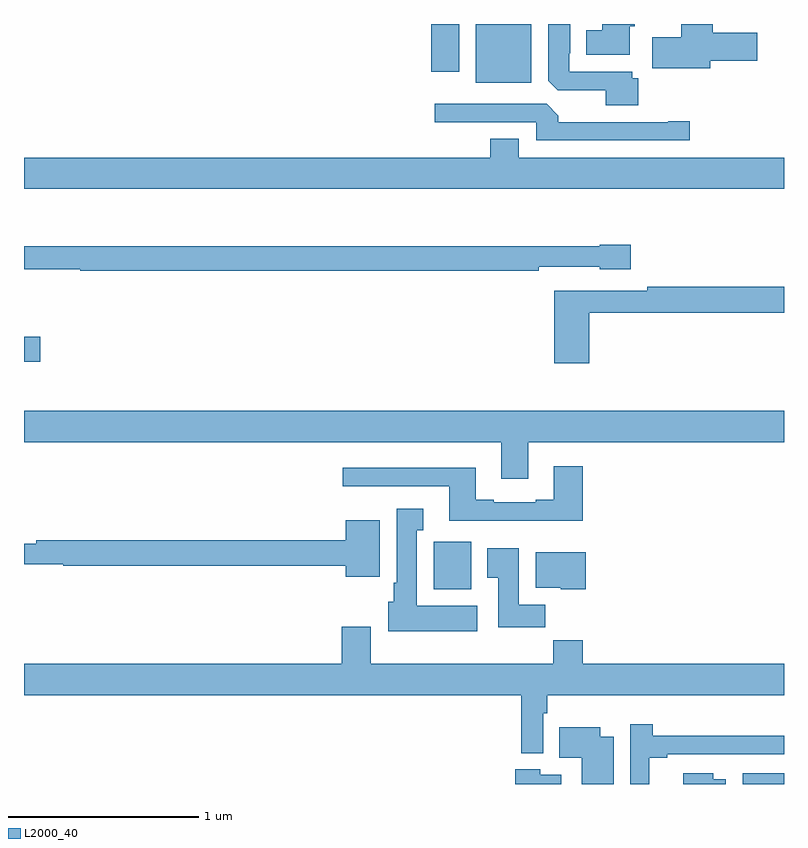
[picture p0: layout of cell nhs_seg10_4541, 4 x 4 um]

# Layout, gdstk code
import gdstk
lib = gdstk.Library(unit=1e-6, precision=1e-09)
def R(c, l, rs):  # rectangles x0, y0, x1, y1
    for r in rs: c.add(gdstk.rectangle(r[:2], r[2:], *l))
def P(c, l, *ps):  # polygons
    for p in ps: c.add(gdstk.Polygon(p, *l))
L2000_40 = (2000, 40)

nhs_seg10_4541 = lib.new_cell('nhs_seg10_4541')
R(nhs_seg10_4541, L2000_40, [(372.782,1314.5,373,1314.556), (371.157,1315.526,371.353,1315.776), (369,1316.723,369.085,1316.853), (371.378,1318.19,371.671,1318.5), (371.144,1318.248,371.29,1318.5)])
P(nhs_seg10_4541, L2000_40, [(372.233,1318.215),(372.202,1318.215),(372.202,1318.248),(371.871,1318.248),(371.871,1318.345),(371.875,1318.345),(371.875,1318.5),(371.759,1318.5),(371.759,1318.201),(371.808,1318.152),(372.062,1318.152),(372.062,1318.073),(372.233,1318.073)],
  [(372.187,1318.488),(372.214,1318.488),(372.214,1318.5),(372.044,1318.5),(372.044,1318.468),(371.96,1318.468),(371.96,1318.337),(372.187,1318.337)],
  [(372.613,1318.307),(372.859,1318.307),(372.859,1318.454),(372.626,1318.454),(372.626,1318.5),(372.458,1318.5),(372.458,1318.431),(372.306,1318.431),(372.306,1318.268),(372.613,1318.268)],
  [(372.505,1317.989),(372.392,1317.989),(372.392,1317.984),(371.813,1317.984),(371.813,1318.018),(371.751,1318.08),(371.163,1318.08),(371.163,1317.984),(371.697,1317.984),(371.697,1317.888),(372.505,1317.888)],
  [(373,1317.796),(371.605,1317.796),(371.605,1317.895),(371.453,1317.895),(371.453,1317.796),(369,1317.796),(369,1317.632),(373,1317.632)],
  [(371.708,1317.222),(372.03,1317.222),(372.03,1317.209),(372.193,1317.209),(372.193,1317.339),(372.03,1317.339),(372.03,1317.331),(369,1317.331),(369,1317.21),(369.296,1317.21),(369.296,1317.202),(371.708,1317.202)],
  [(371.975,1316.98),(373,1316.98),(373,1317.116),(372.28,1317.116),(372.28,1317.096),(371.792,1317.096),(371.792,1316.715),(371.975,1316.715)],
  [(371.653,1316.3),(373,1316.3),(373,1316.464),(369,1316.464),(369,1316.3),(371.513,1316.3),(371.513,1316.106),(371.653,1316.106)],
  [(371.942,1316.173),(371.789,1316.173),(371.789,1315.996),(371.693,1315.996),(371.693,1315.983),(371.473,1315.983),(371.473,1315.996),(371.377,1315.996),(371.377,1316.164),(370.677,1316.164),(370.677,1316.067),(371.237,1316.067),(371.237,1315.886),(371.942,1315.886)],
  [(371.386,1315.438),(371.068,1315.438),(371.068,1315.835),(371.101,1315.835),(371.101,1315.948),(370.961,1315.948),(370.961,1315.558),(370.946,1315.558),(370.946,1315.458),(370.916,1315.458),(370.916,1315.304),(371.386,1315.304)],
  [(370.873,1315.888),(370.694,1315.888),(370.694,1315.784),(369.064,1315.784),(369.064,1315.765),(369,1315.765),(369,1315.656),(369.206,1315.656),(369.206,1315.648),(370.694,1315.648),(370.694,1315.592),(370.873,1315.592)],
  [(371.744,1315.444),(371.605,1315.444),(371.605,1315.741),(371.438,1315.741),(371.438,1315.585),(371.495,1315.585),(371.495,1315.326),(371.744,1315.326)],
  [(371.957,1315.72),(371.693,1315.72),(371.693,1315.532),(371.826,1315.532),(371.826,1315.526),(371.957,1315.526)],
  [(371.733,1314.872),(371.753,1314.872),(371.753,1314.968),(373,1314.968),(373,1315.132),(371.942,1315.132),(371.942,1315.256),(371.785,1315.256),(371.785,1315.132),(370.825,1315.132),(370.825,1315.327),(370.673,1315.327),(370.673,1315.132),(369,1315.132),(369,1314.968),(371.617,1314.968),(371.617,1314.662),(371.733,1314.662)],
  [(372.29,1314.637),(372.385,1314.637),(372.385,1314.657),(373,1314.657),(373,1314.753),(372.938,1314.753),(372.938,1314.755),(372.308,1314.755),(372.308,1314.814),(372.192,1314.814),(372.192,1314.5),(372.29,1314.5)],
  [(372.103,1314.748),(372.034,1314.748),(372.034,1314.799),(371.818,1314.799),(371.818,1314.638),(371.936,1314.638),(371.936,1314.5),(372.103,1314.5)],
  [(371.827,1314.55),(371.718,1314.55),(371.718,1314.577),(371.585,1314.577),(371.585,1314.5),(371.827,1314.5)],
  [(372.694,1314.526),(372.628,1314.526),(372.628,1314.556),(372.47,1314.556),(372.47,1314.5),(372.694,1314.5)])

lib.write_gds('nhs_seg10_4541.gds')
